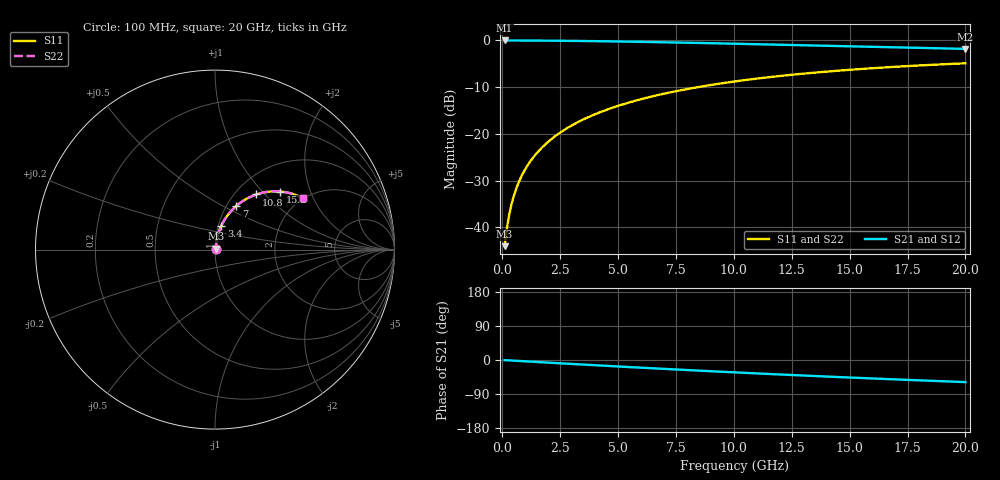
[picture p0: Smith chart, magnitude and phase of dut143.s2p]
! Touchstone file exported from HFSS 2026.1.0
!  File:  C:/ffzhzh/LocalFiles/Ansys_Project_Files/temp_train_TMRDL_143_1782982985_42984.aedt
!  Generated:  05:04:32 PM Jul  2, 2026
!  Design:  TMRDL
!  Project:  temp_train_TMRDL_143_1782982985_42984
! Variables:
!  h_bsmrdl = 2um
!  h_ox = 20um
!  h_rdl = 5um
!  h_sub = 80um
!  h_tmrdl = 4.74um
!  h_tsv = 80um
!  h_via = 3um
!  l_bsmrdl = 300um
!  l_sub = 1270.72um
!  l_tmrdl = 870.72um
!  m_sub = 200um
!  pitch = 50.06um
!  r_tsv = 6um
!  s_tmrdl = 10um
!  w_bsmrdl = 18um
!  w_sub = 500um
!  w_tmrdl = 14.45um
!  x_tsv_center1 = 877.945um
!  x_tsv_center2 = 1195.945um
!  x_tsv_center3 = 2081.115um
!  x_tsv_center4 = 2399.115um
!  x_tsv_center5 = 3284.285um
!  x_tsv_center6 = 3602.285um
# GHz S MA R 50.000000
! Terminal data exported
! Port[1] = TM_RDL1_1_T1
! Port[2] = TM_RDL1_1_T2
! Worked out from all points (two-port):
!   200 points, 100 MHz to 20 GHz, reference 50 ohm
!   highest |S21| = -0.04 dB at 100 MHz (marker M1); lowest = -1.8 dB at 20 GHz (marker M2)
!   |S21| within 3 dB of the highest: start of sweep to end of sweep
!   lowest |S11| = -44.0 dB at 100 MHz (marker M3), VSWR 1.01, Z = 50.5 + j0.437 ohm
!   |S11| at or under -10 dB: start of sweep to 8.463 GHz
!   |S22| runs from -44.0 to -4.9 dB; largest |S21 - S12| = 5.6e-15
!   S11 on the Smith chart (normalised r, x): 100 MHz: 1.01, +0.01; 3.4 GHz: 1.03, +0.28; 7 GHz: 1.11, +0.58; 10.8 GHz: 1.24, +0.90; 15.2 GHz: 1.50, +1.27; 20 GHz: 1.98, +1.67
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0.1  0.006297 43.4  0.9954 -0.4  0.9954 -0.4  0.006297 43.4
! Gamma 0 0 0 0
! Port Impedance 50 0 50 0
0.2  0.009835 61.0  0.9953 -0.7  0.9953 -0.7  0.009835 61.0
0.3  0.01375 68.5  0.9951 -1.1  0.9951 -1.1  0.01375 68.5
0.4  0.01776 72.4  0.9949 -1.4  0.9949 -1.4  0.01776 72.4
0.5  0.0218 74.8  0.9947 -1.8  0.9947 -1.8  0.0218 74.8
0.7  0.02993 77.5  0.9943 -2.5  0.9943 -2.5  0.02993 77.5
1  0.04218 79.1  0.9937 -3.5  0.9937 -3.5  0.04218 79.1
1.4  0.05853 79.5  0.9926 -4.9  0.9926 -4.9  0.05853 79.5
2  0.08294 78.7  0.9904 -7.0  0.9904 -7.0  0.08294 78.7
2.6  0.107 77.3  0.9876 -9.1  0.9876 -9.1  0.107 77.3
3.4  0.1386 75.1  0.9828 -11.8  0.9828 -11.8  0.1386 75.1
3.5  0.1425 74.8  0.9822 -12.1  0.9822 -12.1  0.1425 74.8
5  0.199 70.2  0.9707 -17.1  0.9707 -17.1  0.199 70.2
6.8  0.2624 64.7  0.954 -22.9  0.954 -22.9  0.2624 64.7
7  0.2691 64.1  0.952 -23.5  0.952 -23.5  0.2691 64.1
8.5  0.3174 59.7  0.9361 -28.1  0.9361 -28.1  0.3174 59.7
10.1  0.3648 55.1  0.9181 -32.9  0.9181 -32.9  0.3648 55.1
10.8  0.3842 53.1  0.91 -34.9  0.91 -34.9  0.3842 53.1
13.4  0.449 46.2  0.8795 -42.1  0.8795 -42.1  0.449 46.1
15.2  0.4876 41.6  0.8588 -46.8  0.8588 -46.8  0.4876 41.5
16.7  0.516 37.9  0.8423 -50.5  0.8423 -50.5  0.516 37.9
20  0.5674 30.3  0.8091 -58.3  0.8091 -58.3  0.5674 30.3
